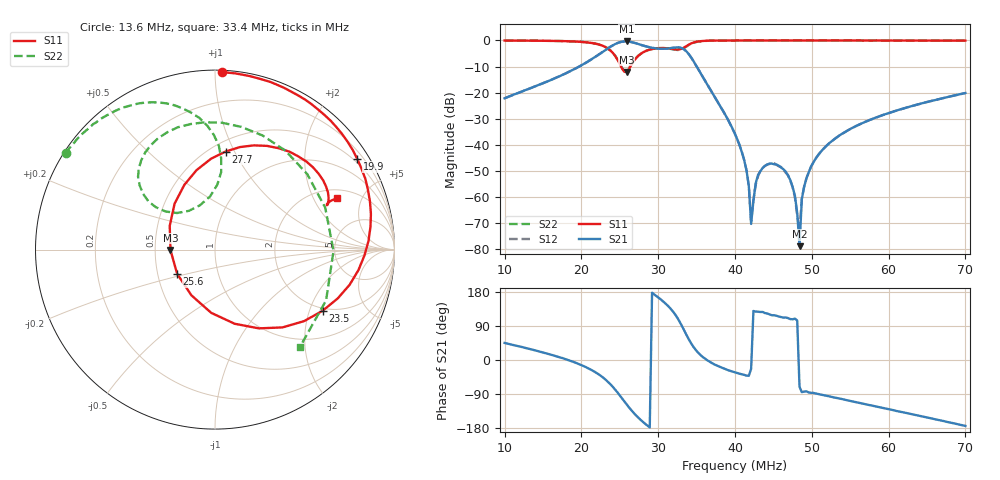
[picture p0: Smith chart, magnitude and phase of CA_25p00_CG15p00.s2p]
#  HZ  S  RI  R  50.00
! Rohde & Schwarz ZVT8 8Ports - Version 4.11 - 1300.0000k08 SN: 100242
! Date: 2026-07-31 14:34:19
! Measurements: S11 S21 S12 S22
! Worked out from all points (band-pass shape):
!   201 points, 10 MHz to 70 MHz, reference 50 ohm
!   highest |S21| = -0.37 dB at 25.9 MHz (marker M1); lowest = -78.9 dB at 48.4 MHz (marker M2)
!   |S21| within 3 dB of the highest: 23.28 MHz to 33.34 MHz (10.06 MHz wide, 35.5 % of centre)
!   lowest |S11| = -12.1 dB at 25.9 MHz (marker M3), VSWR 1.66, Z = 30.1 - j0.146 ohm
!   |S11| at or under -10 dB: 25.16 MHz to 26.37 MHz (1.216 MHz wide, 4.72 % of centre)
!   |S22| runs from -11.7 to 0.0 dB; largest |S21 - S12| = 0.0025
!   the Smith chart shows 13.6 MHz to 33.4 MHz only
!   S11 on the Smith chart (normalised r, x): 13.6 MHz: 0.01, +1.04; 19.9 MHz: 0.39, +3.39; 23.5 MHz: 1.89, -2.46; 25.6 MHz: 0.63, -0.18; 27.7 MHz: 0.59, +0.92; 33.4 MHz: 2.47, +3.08
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1e7  -0.398 0.9132  0.055 0.0551  0.0548 0.0551  -0.9167 0.3901
1.36e7  0.0386 0.9887  0.1113 0.0577  0.1114 0.0572  -0.8322 0.5356
1.99e7  0.7926 0.5054  0.3192 -0.0719  0.3196 -0.0722  -0.5091 0.7922
2.02e7  0.8156 0.4519  0.3346 -0.0911  0.3339 -0.0909  -0.4832 0.7994
2.35e7  0.5992 -0.3411  0.3724 -0.6087  0.3734 -0.607  -0.0447 0.6923
2.56e7  -0.2109 -0.135  -0.3198 -0.9034  -0.3201 -0.9024  -0.0845 0.2464
2.59e7  -0.2481 -0.00227  -0.4418 -0.8506  -0.4416 -0.8517  -0.1451 0.216
2.77e7  0.0586 0.5462  -0.7656 -0.3134  -0.7665 -0.3141  -0.4198 0.358
3.01e7  0.5468 0.4577  -0.6663 0.1981  -0.6659 0.1965  -0.2072 0.6816
3.19e7  0.6317 0.2652  -0.4497 0.5644  -0.4488 0.5631  0.392 0.5515
3.34e7  0.6773 0.2862  0.1459 0.6541  0.1452 0.6538  0.4731 -0.5427
3.55e7  0.9663 0.0197  0.2314 0.055  0.2313 0.055  -0.8765 -0.3977
4e7  0.7791 -0.6229  0.0135 -0.00873  0.0135 -0.00877  -0.8771 0.4759
4.21e7  0.5889 -0.8059  0.000278 -0.00012  0.000307 -0.00015  -0.7768 0.6256
4.3e7  0.4957 -0.8657  -0.0016 0.00209  -0.00148 0.002  -0.7355 0.6754
4.54e7  0.2331 -0.9702  -0.00187 0.00371  -0.00179 0.00374  -0.6293 0.7746
4.75e7  -0.00761 -0.9985  -0.000465 0.00148  -0.000476 0.00146  -0.5394 0.8391
4.84e7  -0.1103 -0.9926  3.75e-05 -0.000107  9.06e-06 -0.000224  -0.5022 0.8617
4.87e7  -0.1447 -0.9881  8.23e-05 -0.000898  8.47e-05 -0.00092  -0.4896 0.8688
5.02e7  -0.3092 -0.9495  0.000255 -0.00456  0.000248 -0.00458  -0.4278 0.9009
6.01e7  -0.9845 -0.1454  -0.0264 -0.0313  -0.0263 -0.0313  -0.0263 0.9959
7e7  -0.5556 0.8214  -0.0977 -0.0104  -0.0975 -0.0104  0.367 0.9222
